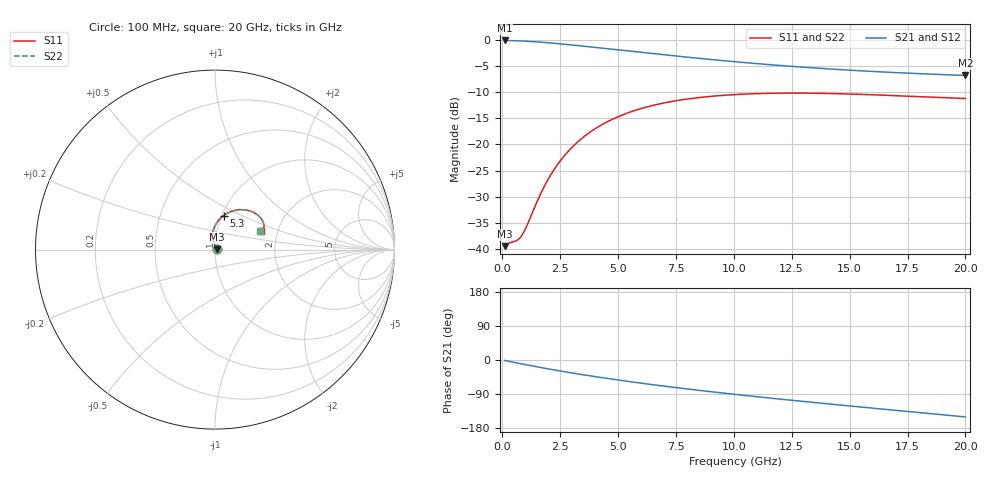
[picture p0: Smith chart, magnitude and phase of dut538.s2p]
! Touchstone file exported from HFSS 2024.1.0
!  File:  C:/UserFiles/LocalFiles/RDL_TSV_Batchsim/temp_RDL_TSV_538_1779746645.aedt
!  Generated:  06:18:57 AM May 26, 2026
!  Design:  RDL_TSV
!  Project:  temp_RDL_TSV_538_1779746645
!  Setup:  Setup1
!  Solution:  Sweep
! Variables:
!  dtsv = 6.52um
!  hbump = 3um
!  htsv = 82.56um
!  ldown = 323.57um
!  lrdl = 248.27um
!  p = 40
!  p1 = 41.31um
!  rhole = 10um
!  subl = 1963.79um
!  t = 450um
!  tdown = 3.97um
!  trdl = 4.85um
!  viad = 10um
!  wdown = 20.24um
!  wrdl = 15.94um
!  xbump = 18um
# GHz S MA R 50.000000
! Terminal data exported
! Port[1] = TM1_1_T1
! Port[2] = TM1_4_T1
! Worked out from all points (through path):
!   200 points, 100 MHz to 20 GHz, reference 50 ohm
!   highest |S21| = -0.09 dB at 100 MHz (marker M1); lowest = -6.8 dB at 20 GHz (marker M2)
!   group delay of S21, straight-line fit = 19.8 ps
!   lowest |S11| = -39.5 dB at 100 MHz (marker M3), VSWR 1.02, Z = 51.1 + j0.171 ohm
!   |S11| at or under -10 dB: start of sweep to end of sweep
!   |S22| runs from -39.5 to -10.2 dB; largest |S21 - S12| = 9.2e-15
!   S11 on the Smith chart (normalised r, x): 100 MHz: 1.02, +0.00; 5.3 GHz: 1.02, +0.40; 20 GHz: 1.63, +0.37
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0.1  0.01064 9.0  0.9893 -1.3  0.9893 -1.3  0.01064 9.0
! Gamma 0 0 0 0
! Port Impedance 50 0 50 0
0.3  0.01142 22.5  0.9873 -3.8  0.9873 -3.8  0.01142 22.5
0.6  0.01197 42.8  0.9829 -7.4  0.9829 -7.4  0.01197 42.8
0.8  0.01306 59.6  0.979 -9.8  0.979 -9.8  0.01306 59.5
1  0.01559 75.4  0.9741 -12.2  0.9741 -12.2  0.01559 75.3
1.7  0.03539 100.6  0.9515 -20.3  0.9515 -20.3  0.03535 100.5
2.1  0.05154 102.5  0.9355 -24.7  0.9355 -24.7  0.05147 102.4
2.4  0.06491 101.7  0.9227 -27.9  0.9227 -27.9  0.06482 101.7
2.7  0.07893 99.9  0.9093 -31.1  0.9093 -31.1  0.07882 99.9
3.1  0.09814 96.7  0.8911 -35.1  0.8911 -35.1  0.098 96.7
3.5  0.1174 93.0  0.8726 -39.1  0.8726 -39.1  0.1172 93.0
4.3  0.1546 85.2  0.8357 -46.6  0.8357 -46.6  0.1543 85.2
5.3  0.196 75.8  0.791 -55.3  0.791 -55.3  0.1956 75.7
6  0.2208 69.7  0.7612 -61.2  0.7612 -61.2  0.2204 69.6
6.8  0.2447 63.2  0.7288 -67.5  0.7288 -67.5  0.2443 63.2
8.4  0.2796 52.2  0.6704 -79.4  0.6704 -79.4  0.279 52.2
10.1  0.3006 42.8  0.6177 -91.1  0.6177 -91.1  0.2999 42.8
11.7  0.3091 35.8  0.5766 -101.4  0.5766 -101.4  0.3082 35.7
13.4  0.3094 30.1  0.541 -111.8  0.541 -111.8  0.3084 30.0
15  0.304 26.2  0.5139 -121.3  0.5139 -121.3  0.303 26.1
16.7  0.2949 23.5  0.4906 -131.2  0.4906 -131.2  0.2937 23.4
20  0.2755 22.6  0.4575 -150.3  0.4575 -150.3  0.2742 22.6
